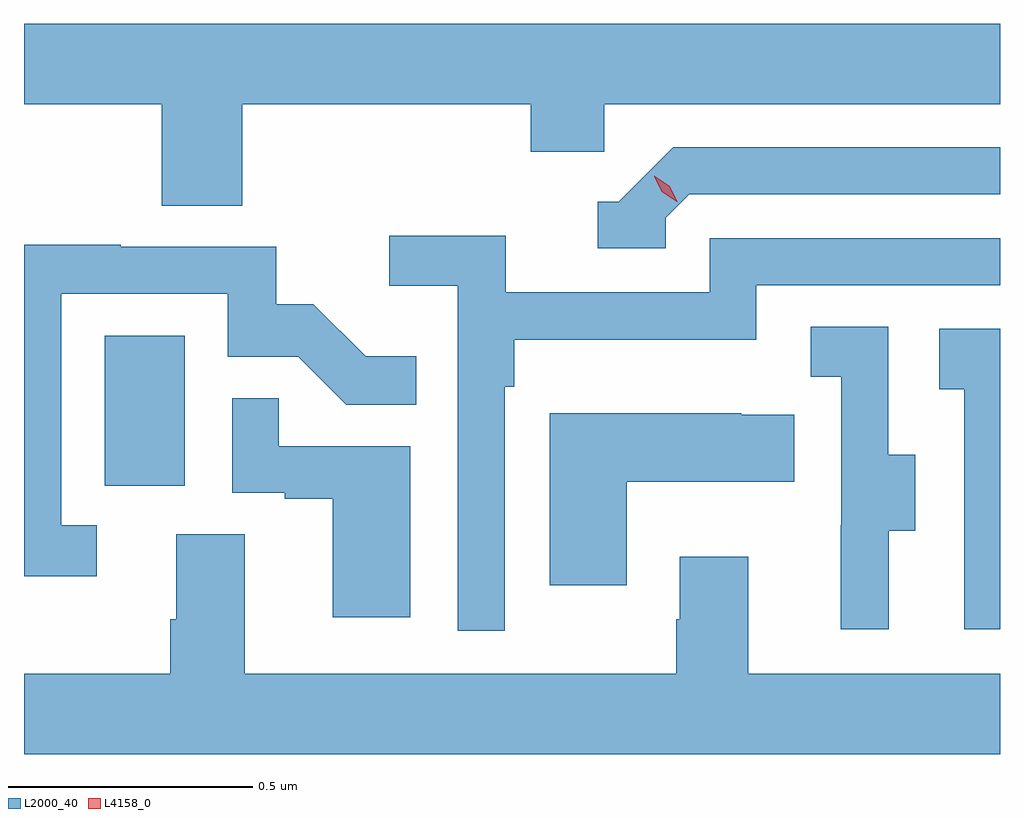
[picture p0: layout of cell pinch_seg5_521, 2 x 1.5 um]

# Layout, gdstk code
import gdstk
lib = gdstk.Library(unit=1e-6, precision=1e-09)
def R(c, l, rs):  # rectangles x0, y0, x1, y1
    for r in rs: c.add(gdstk.rectangle(r[:2], r[2:], *l))
def P(c, l, *ps):  # polygons
    for p in ps: c.add(gdstk.Polygon(p, *l))
L2000_40 = (2000, 40)
L4158_0 = (4158, 0)

pinch_seg5_521 = lib.new_cell('pinch_seg5_521')
R(pinch_seg5_521, L2000_40, [(930.332,846.654,930.496,846.961)])
P(pinch_seg5_521, L2000_40, [(930.614,847.436),(931.205,847.436),(931.205,847.338),(931.356,847.338),(931.356,847.436),(932.167,847.436),(932.167,847.6),(930.167,847.6),(930.167,847.436),(930.449,847.436),(930.449,847.228),(930.614,847.228)],
  [(931.482,847.203),(931.53,847.251),(932.167,847.251),(932.167,847.347),(931.497,847.347),(931.386,847.236),(931.343,847.236),(931.343,847.14),(931.482,847.14)],
  [(931.152,846.857),(931.172,846.857),(931.172,846.953),(931.668,846.953),(931.668,847.065),(932.167,847.065),(932.167,847.161),(931.572,847.161),(931.572,847.05),(931.154,847.05),(931.154,847.166),(930.915,847.166),(930.915,847.064),(931.056,847.064),(931.056,846.357),(931.152,846.357)],
  [(930.316,846.573),(930.243,846.573),(930.243,847.047),(930.585,847.047),(930.585,846.918),(930.729,846.918),(930.827,846.82),(930.971,846.82),(930.971,846.919),(930.867,846.919),(930.76,847.026),(930.684,847.026),(930.684,847.143),(930.365,847.143),(930.365,847.148),(930.167,847.148),(930.167,846.468),(930.316,846.468)],
  [(931.939,846.562),(931.993,846.562),(931.993,846.717),(931.938,846.717),(931.938,846.98),(931.779,846.98),(931.779,846.877),(931.842,846.877),(931.842,846.573),(931.841,846.573),(931.841,846.36),(931.939,846.36)],
  [(932.167,846.975),(932.043,846.975),(932.043,846.851),(932.094,846.851),(932.094,846.36),(932.167,846.36)],
  [(930.958,846.735),(930.689,846.735),(930.689,846.833),(930.594,846.833),(930.594,846.639),(930.701,846.639),(930.701,846.627),(930.8,846.627),(930.8,846.384),(930.958,846.384)],
  [(931.402,846.662),(931.745,846.662),(931.745,846.799),(931.637,846.799),(931.637,846.802),(931.244,846.802),(931.244,846.45),(931.402,846.45)],
  [(932.167,846.268),(931.651,846.268),(931.651,846.508),(931.511,846.508),(931.511,846.38),(931.504,846.38),(931.504,846.268),(930.619,846.268),(930.619,846.554),(930.479,846.554),(930.479,846.38),(930.467,846.38),(930.467,846.268),(930.167,846.268),(930.167,846.104),(932.167,846.104)])
P(pinch_seg5_521, L4158_0, [(931.505,847.236),(931.474,847.256),(931.458,847.288),(931.458,847.289),(931.458,847.289),(931.489,847.269),(931.506,847.237),(931.506,847.236)])

lib.write_gds('pinch_seg5_521.gds')
